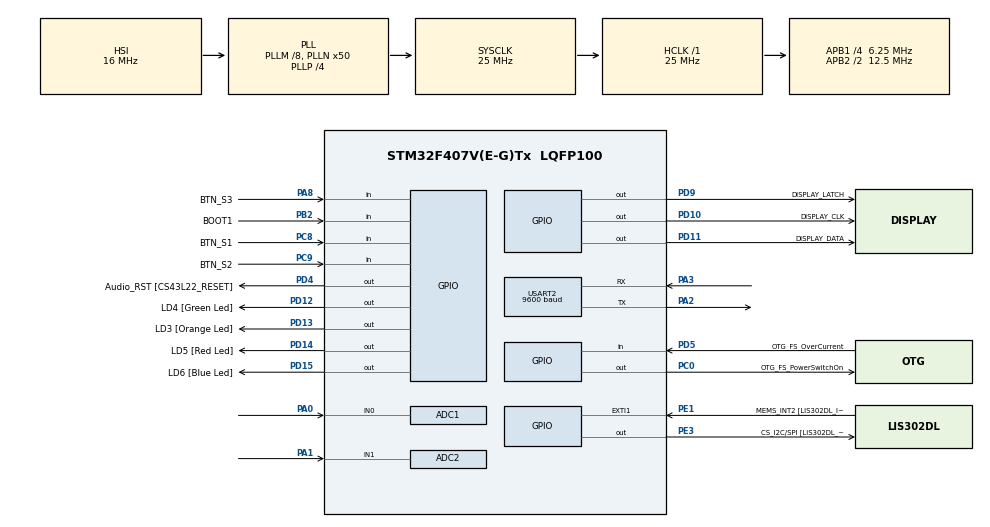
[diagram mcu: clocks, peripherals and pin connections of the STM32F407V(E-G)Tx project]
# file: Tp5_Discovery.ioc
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ADC1.Channel-0\#ChannelRegularConversion=ADC_CHANNEL_0
ADC1.NbrOfConversionFlag=1
ADC1.Rank-0\#ChannelRegularConversion=1
ADC1.SamplingTime-0\#ChannelRegularConversion=ADC_SAMPLETIME_3CYCLES
ADC1.master=1
ADC2.Channel-0\#ChannelRegularConversion=ADC_CHANNEL_1
ADC2.NbrOfConversionFlag=1
ADC2.Rank-0\#ChannelRegularConversion=1
ADC2.SamplingTime-0\#ChannelRegularConversion=ADC_SAMPLETIME_3CYCLES
Mcu.Family=STM32F4
Mcu.Name=STM32F407V(E-G)Tx
Mcu.Package=LQFP100
NVIC.ADC_IRQn=true\:0\:0\:false\:false\:true\:true\:true\:true
NVIC.PriorityGroup=NVIC_PRIORITYGROUP_0
NVIC.TIM2_IRQn=true\:0\:0\:false\:false\:true\:true\:true\:true
NVIC.USART2_IRQn=true\:0\:0\:false\:false\:true\:true\:true\:true
PA0-WKUP.Signal=ADCx_IN0
PA1.Signal=ADCx_IN1
PA10.GPIO_Label=OTG_FS_ID
PA10.GPIO_Mode=GPIO_MODE_AF_PP
PA10.GPIO_PuPd=GPIO_NOPULL
PA10.GPIO_Speed=GPIO_SPEED_FREQ_LOW
PA10.Signal=USB_OTG_FS_ID
PA11.GPIO_Label=OTG_FS_DM
PA11.GPIO_Mode=GPIO_MODE_AF_PP
PA11.GPIO_PuPd=GPIO_NOPULL
PA11.GPIO_Speed=GPIO_SPEED_FREQ_LOW
PA11.Signal=USB_OTG_FS_DM
PA12.GPIO_Label=OTG_FS_DP
PA12.GPIO_Mode=GPIO_MODE_AF_PP
PA12.GPIO_PuPd=GPIO_NOPULL
PA12.GPIO_Speed=GPIO_SPEED_FREQ_LOW
PA12.Signal=USB_OTG_FS_DP
PA13.GPIO_Label=SWDIO
PA13.Mode=Serial_Wire
PA13.Signal=SYS_JTMS-SWDIO
PA14.GPIO_Label=SWCLK
PA14.Mode=Serial_Wire
PA14.Signal=SYS_JTCK-SWCLK
PA2.Mode=Asynchronous
PA2.Signal=USART2_TX
PA3.Mode=Asynchronous
PA3.Signal=USART2_RX
PA4.GPIO_Label=I2S3_WS [CS43L22_LRCK]
PA4.GPIO_Mode=GPIO_MODE_AF_PP
PA4.GPIO_PuPd=GPIO_NOPULL
PA4.GPIO_Speed=GPIO_SPEED_FREQ_LOW
PA4.Signal=I2S3_WS
PA5.GPIO_Label=SPI1_SCK [LIS302DL_SCL/SPC]
PA5.GPIO_Mode=GPIO_MODE_AF_PP
PA5.GPIO_PuPd=GPIO_NOPULL
PA5.GPIO_Speed=GPIO_SPEED_FREQ_LOW
PA5.Signal=SPI1_SCK
PA6.GPIO_Label=SPI1_MISO [LIS302DL_SDO]
PA6.GPIO_Mode=GPIO_MODE_AF_PP
PA6.GPIO_PuPd=GPIO_NOPULL
PA6.GPIO_Speed=GPIO_SPEED_FREQ_LOW
PA6.Signal=SPI1_MISO
PA7.GPIO_Label=SPI1_MOSI [LIS302DL_SDA/SDI/SDO]
PA7.GPIO_Mode=GPIO_MODE_AF_PP
PA7.GPIO_PuPd=GPIO_NOPULL
PA7.GPIO_Speed=GPIO_SPEED_FREQ_LOW
PA7.Signal=SPI1_MOSI
PA8.GPIO_Label=BTN_S3
PA8.GPIO_PuPd=GPIO_PULLUP
PA8.Signal=GPIO_Input
PA9.GPIO_Label=VBUS_FS
PA9.GPIO_Mode=GPIO_MODE_INPUT
PA9.GPIO_PuPd=GPIO_NOPULL
PA9.Signal=USB_OTG_FS_VBUS
PB10.GPIO_Label=CLK_IN [MP45DT02_CLK]
PB10.GPIO_Mode=GPIO_MODE_AF_PP
PB10.GPIO_PuPd=GPIO_NOPULL
PB10.GPIO_Speed=GPIO_SPEED_FREQ_LOW
PB10.Signal=I2S2_CK
PB2.GPIO_Label=BOOT1
PB2.GPIO_Mode=GPIO_MODE_INPUT
PB2.GPIO_PuPd=GPIO_NOPULL
PB2.Signal=GPIO_Input
PB3.GPIO_Label=SWO
PB3.Signal=SYS_JTDO-SWO
PB6.GPIO_Label=Audio_SCL [CS43L22_SCL]
PB6.GPIO_Mode=GPIO_MODE_AF_OD
PB6.GPIO_PuPd=GPIO_NOPULL
PB6.GPIO_Speed=GPIO_SPEED_FREQ_LOW
PB6.Signal=I2C1_SCL
PB9.GPIO_Label=Audio_SDA [CS43L22_SDA]
PB9.GPIO_Mode=GPIO_MODE_AF_OD
PB9.GPIO_PuPd=GPIO_NOPULL
PB9.GPIO_Speed=GPIO_SPEED_FREQ_LOW
PB9.Signal=I2C1_SDA
PC0.GPIO_Label=OTG_FS_PowerSwitchOn
PC0.GPIO_PuPd=GPIO_NOPULL
PC0.GPIO_Speed=GPIO_SPEED_FREQ_LOW
PC0.PinState=GPIO_PIN_SET
PC0.Signal=GPIO_Output
PC10.GPIO_Label=I2S3_SCK [CS43L22_SCLK]
PC10.GPIO_Mode=GPIO_MODE_AF_PP
PC10.GPIO_PuPd=GPIO_NOPULL
PC10.GPIO_Speed=GPIO_SPEED_FREQ_LOW
PC10.Signal=I2S3_CK
PC12.GPIO_Label=I2S3_SD [CS43L22_SDIN]
PC12.GPIO_Mode=GPIO_MODE_AF_PP
PC12.GPIO_PuPd=GPIO_NOPULL
PC12.GPIO_Speed=GPIO_SPEED_FREQ_LOW
PC12.Signal=I2S3_SD
PC14-OSC32_IN.GPIO_Label=PC14-OSC32_IN
PC14-OSC32_IN.Signal=RCC_OSC32_IN
PC15-OSC32_OUT.GPIO_Label=PC15-OSC32_OUT
PC15-OSC32_OUT.Signal=RCC_OSC32_OUT
PC3.GPIO_Label=PDM_OUT [MP45DT02_DOUT]
PC3.GPIO_Mode=GPIO_MODE_AF_PP
PC3.GPIO_PuPd=GPIO_NOPULL
PC3.GPIO_Speed=GPIO_SPEED_FREQ_LOW
PC3.Signal=I2S2_SD
PC7.GPIO_Label=I2S3_MCK [CS43L22_MCLK]
PC7.GPIO_Mode=GPIO_MODE_AF_PP
PC7.GPIO_PuPd=GPIO_NOPULL
PC7.GPIO_Speed=GPIO_SPEED_FREQ_LOW
PC7.Signal=I2S3_MCK
PC8.GPIO_Label=BTN_S1
PC8.GPIO_PuPd=GPIO_PULLUP
PC8.Signal=GPIO_Input
PC9.GPIO_Label=BTN_S2
PC9.GPIO_PuPd=GPIO_PULLUP
PC9.Signal=GPIO_Input
PD10.GPIO_Label=DISPLAY_CLK
PD10.Signal=GPIO_Output
PD11.GPIO_Label=DISPLAY_DATA
PD11.Signal=GPIO_Output
PD12.GPIO_Label=LD4 [Green Led]
PD12.GPIO_PuPd=GPIO_NOPULL
PD12.GPIO_Speed=GPIO_SPEED_FREQ_LOW
PD12.Signal=GPIO_Output
PD13.GPIO_Label=LD3 [Orange Led]
PD13.GPIO_PuPd=GPIO_NOPULL
PD13.GPIO_Speed=GPIO_SPEED_FREQ_LOW
PD13.Signal=GPIO_Output
PD14.GPIO_Label=LD5 [Red Led]
PD14.GPIO_PuPd=GPIO_NOPULL
PD14.GPIO_Speed=GPIO_SPEED_FREQ_LOW
PD14.Signal=GPIO_Output
PD15.GPIO_Label=LD6 [Blue Led]
PD15.GPIO_PuPd=GPIO_NOPULL
PD15.GPIO_Speed=GPIO_SPEED_FREQ_LOW
PD15.Signal=GPIO_Output
PD4.GPIO_Label=Audio_RST [CS43L22_RESET]
PD4.GPIO_PuPd=GPIO_NOPULL
PD4.GPIO_Speed=GPIO_SPEED_FREQ_LOW
PD4.Signal=GPIO_Output
PD5.GPIO_Label=OTG_FS_OverCurrent
PD5.GPIO_Mode=GPIO_MODE_INPUT
PD5.GPIO_PuPd=GPIO_NOPULL
PD5.Signal=GPIO_Input
PD9.GPIO_Label=DISPLAY_LATCH
PD9.Signal=GPIO_Output
PE1.GPIO_Label=MEMS_INT2 [LIS302DL_INT2]
PE1.GPIO_ModeDefaultEXTI=GPIO_MODE_EVT_RISING
PE1.GPIO_PuPd=GPIO_NOPULL
PE1.Signal=GPXTI1
PE3.GPIO_Label=CS_I2C/SPI [LIS302DL_CS_I2C/SPI]
PE3.GPIO_PuPd=GPIO_NOPULL
PE3.GPIO_Speed=GPIO_SPEED_FREQ_LOW
PE3.Signal=GPIO_Output
PH0-OSC_IN.GPIO_Label=PH0-OSC_IN
PH0-OSC_IN.Signal=RCC_OSC_IN
PH1-OSC_OUT.GPIO_Label=PH1-OSC_OUT
PH1-OSC_OUT.Signal=RCC_OSC_OUT
ProjectManager.HeapSize=0x200
ProjectManager.StackSize=0x400
ProjectManager.TargetToolchain=STM32CubeIDE
RCC.48MHZClocksFreq_Value=14285714.285714285
RCC.AHBFreq_Value=25000000
RCC.APB1CLKDivider=RCC_HCLK_DIV4
RCC.APB1Freq_Value=6250000
RCC.APB1TimFreq_Value=12500000
RCC.APB2CLKDivider=RCC_HCLK_DIV2
RCC.APB2Freq_Value=12500000
RCC.APB2TimFreq_Value=25000000
RCC.CortexFreq_Value=25000000
RCC.HCLKFreq_Value=25000000
RCC.HSE_VALUE=8000000
RCC.HSI_VALUE=16000000
RCC.LSE_VALUE=32768
RCC.PLLM=8
RCC.PLLN=50
RCC.PLLP=RCC_PLLP_DIV4
RCC.PLLQ=7
RCC.SYSCLKFreq_VALUE=25000000
RCC.SYSCLKSource=RCC_SYSCLKSOURCE_PLLCLK
RCC.VCOOutputFreq_Value=100000000
SH.ADCx_IN0.0=ADC1_IN0,IN0
SH.ADCx_IN1.0=ADC2_IN1,IN1
TIM2.Period=999
TIM2.Prescaler=1249
USART2.BaudRate=9600
USART2.VirtualMode=VM_ASYNC
VP_TIM2_VS_ClockSourceINT.Mode=Internal
board=STM32F407G-DISC1

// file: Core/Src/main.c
/* USER CODE BEGIN Header */
/**
 ******************************************************************************
 * @file           : main.c
 * @brief          : Main program body
 ******************************************************************************
 * @attention
 *
 * Copyright (c) 2026 STMicroelectronics.
 * All rights reserved.
 *
 * This software is licensed under terms that can be found in the LICENSE file
 * in the root directory of this software component.
 * If no LICENSE file comes with this software, it is provided AS-IS.
 *
 ******************************************************************************
 */
/* USER CODE END Header */
#include "main.h"
#include "adc.h"
#include "tim.h"
#include "usart.h"
#include "gpio.h"

/* USER CODE BEGIN Includes */
#include "boton.h"
#include "display7seg.h"
#include "uart_fsm.h"
#include <string.h>
#include <stdio.h>
/* USER CODE END Includes */

/* USER CODE BEGIN PD */
#define MUESTRAS_FILTRO	16
/* USER CODE END PD */

/* USER CODE BEGIN PV */
volatile ModoLectura_t modo_actual = MODO_POTENCIOMETRO;
volatile uint8_t filtro_activo = 0; // 0 = Medicion directa, 1 = Promedio (16 muestras)

// Variables para ADC1 (Potenciometro)
volatile uint8_t adc1_ready = 0;
uint32_t adc1_value = 0;
uint32_t adc1_acumulador = 0;
uint8_t adc1_muestras = 0;

// Variables para ADC2 (Sensor de temperatura)
volatile uint8_t adc2_ready = 0;
uint32_t adc2_value = 0;
uint32_t adc2_acumulador = 0;
uint8_t adc2_muestras = 0;

// Variables procesadas
float voltage_pot = 0.0f;
float voltage_temp = 0.0f;
float temperature_c = 0.0f;

uint8_t rx_byte = 0;
/* USER CODE END PV */

void SystemClock_Config(void);
/* USER CODE BEGIN PFP */
void Accion_Boton_S1(void);
void Accion_Boton_S2(void);
void Accion_Boton_S3(void);
void Muestra_Periodica(void);
/* USER CODE END PFP */

int main(void) {

	/* MCU Configuration--------------------------------------------------------*/

	/* Reset of all peripherals, Initializes the Flash interface and the Systick. */
	HAL_Init();

	/* Configure the system clock */
	SystemClock_Config();

	/* Initialize all configured peripherals */
	MX_GPIO_Init();
	MX_ADC1_Init();
	MX_ADC2_Init();
	MX_TIM2_Init();
	MX_USART2_UART_Init();
	/* USER CODE BEGIN 2 */
	Button_Init();
	Button_SetAction_S1(Accion_Boton_S1);
	Button_SetAction_S2(Accion_Boton_S2);
	Button_SetAction_S3(Accion_Boton_S3);

	HAL_TIM_Base_Start_IT(&htim2);

	HAL_UART_Receive_IT(&huart2, &rx_byte, 1);
	/* USER CODE END 2 */

	/* Infinite loop */
	/* USER CODE BEGIN WHILE */
	while (1) {
		Read_Button_Task();
		UART_FSM_Process_Task();

		/* USER CODE END WHILE */

		/* USER CODE BEGIN 3 */
		static uint32_t t_telemetria = 0;
		uint32_t now = HAL_GetTick();

		// Potenciometro
		if (adc1_ready) {
			adc1_ready = 0;

			if (filtro_activo) {
				adc1_acumulador += adc1_value;
				adc1_muestras++;

				if (adc1_muestras >= MUESTRAS_FILTRO) {
					uint32_t prom = adc1_acumulador / MUESTRAS_FILTRO;
					adc1_acumulador = 0;
					adc1_muestras = 0;

					voltage_pot = ((float) prom * 3.3f) / 4095.0f;
				}
			} else {
				voltage_pot = ((float) adc1_value * 3.3f) / 4095.0f;
			}
		}

		// Sensor de temperatura
		if (adc2_ready) {
			adc2_ready = 0;

			if (filtro_activo) {
				adc2_acumulador += adc2_value;
				adc2_muestras++;

				if (adc2_muestras >= MUESTRAS_FILTRO) {
					uint32_t prom = adc2_acumulador / MUESTRAS_FILTRO;
					adc2_acumulador = 0;
					adc2_muestras = 0;

					voltage_temp = ((float) prom * 3.3f) / 4095.0f;
					// temperature_c = (voltage_temp) * 100.0f; // Formula LM35
					temperature_c = (voltage_temp - 0.5f) * 100.0f; // Formula MCP9700
				}
			} else {
				voltage_temp = ((float) adc2_value * 3.3f) / 4095.0f;
				// temperature_c = (voltage_temp) * 100.0f; // Formula LM35
				temperature_c = (voltage_temp - 0.5f) * 100.0f; // Formula MCP9700
			}
		}

		static uint32_t t_mostrar_remoto = 0;

		if (modo_actual == MODO_REMOTO_UART) {
			if ((now - t_mostrar_remoto) >= 5000) {
				t_mostrar_remoto = now;
				modo_actual = MODO_POTENCIOMETRO;
			}
		} else if (modo_actual == MODO_POTENCIOMETRO) {
			Display_SetNumberWithDP((uint16_t) (voltage_pot * 1000.0f), 3);
		} else {
			Display_SetNumberWithDP((uint16_t) (temperature_c * 10.0f), 1);
		}

		if ((now - t_telemetria) >= 2000) {
			t_telemetria = now;

			Muestra_Periodica();
		}

		Display_Refresh_Task();
	}
	/* USER CODE END 3 */
}

void SystemClock_Config(void) {
	RCC_OscInitTypeDef RCC_OscInitStruct = { 0 };
	RCC_ClkInitTypeDef RCC_ClkInitStruct = { 0 };

	/** Configure the main internal regulator output voltage
	 */
	__HAL_RCC_PWR_CLK_ENABLE();
	__HAL_PWR_VOLTAGESCALING_CONFIG(PWR_REGULATOR_VOLTAGE_SCALE1);

	/** Initializes the RCC Oscillators according to the specified parameters
	 * in the RCC_OscInitTypeDef structure.
	 */
	RCC_OscInitStruct.OscillatorType = RCC_OSCILLATORTYPE_HSI;
	RCC_OscInitStruct.HSIState = RCC_HSI_ON;
	RCC_OscInitStruct.HSICalibrationValue = RCC_HSICALIBRATION_DEFAULT;
	RCC_OscInitStruct.PLL.PLLState = RCC_PLL_ON;
	RCC_OscInitStruct.PLL.PLLSource = RCC_PLLSOURCE_HSI;
	RCC_OscInitStruct.PLL.PLLM = 8;
	RCC_OscInitStruct.PLL.PLLN = 50;
	RCC_OscInitStruct.PLL.PLLP = RCC_PLLP_DIV4;
	RCC_OscInitStruct.PLL.PLLQ = 7;
	if (HAL_RCC_OscConfig(&RCC_OscInitStruct) != HAL_OK) {
		Error_Handler();
	}

	/** Initializes the CPU, AHB and APB buses clocks
	 */
	RCC_ClkInitStruct.ClockType = RCC_CLOCKTYPE_HCLK | RCC_CLOCKTYPE_SYSCLK
			| RCC_CLOCKTYPE_PCLK1 | RCC_CLOCKTYPE_PCLK2;
	RCC_ClkInitStruct.SYSCLKSource = RCC_SYSCLKSOURCE_PLLCLK;
	RCC_ClkInitStruct.AHBCLKDivider = RCC_SYSCLK_DIV1;
	RCC_ClkInitStruct.APB1CLKDivider = RCC_HCLK_DIV4;
	RCC_ClkInitStruct.APB2CLKDivider = RCC_HCLK_DIV2;

	if (HAL_RCC_ClockConfig(&RCC_ClkInitStruct, FLASH_LATENCY_0) != HAL_OK) {
		Error_Handler();
	}
}

/* USER CODE BEGIN 4 */
// Esta interrupcion ocurre cada 100 ms
void HAL_TIM_PeriodElapsedCallback(TIM_HandleTypeDef *htim) {
	if (htim->Instance == TIM2) {
		HAL_ADC_Start_IT(&hadc1); // Potenciometro (PA0)
		HAL_ADC_Start_IT(&hadc2); // Sensor de Temperatura (PA1)
	}
}

void HAL_ADC_ConvCpltCallback(ADC_HandleTypeDef *hadc) {
	if (hadc->Instance == ADC1) {
		adc1_value = HAL_ADC_GetValue(hadc);
		adc1_ready = 1;
	} else if (hadc->Instance == ADC2) {
		adc2_value = HAL_ADC_GetValue(hadc);
		adc2_ready = 1;
	}
}

void HAL_UART_RxCpltCallback(UART_HandleTypeDef *huart) {
	if (huart->Instance == USART2) {
		UART_FSM_Update((char) rx_byte);

		HAL_UART_Receive_IT(&huart2, &rx_byte, 1);
	}
}

void Accion_Boton_S1(void) {
	modo_actual = MODO_POTENCIOMETRO;
}
void Accion_Boton_S2(void) {
	modo_actual = MODO_TEMPERATURA;
}
void Accion_Boton_S3(void) {
	filtro_activo = !filtro_activo;
}

void Muestra_Periodica(void) {
	static char tx_buffer[50];
	sprintf(tx_buffer, "Temperatura actual: %.1f C\r\n", temperature_c);

	HAL_UART_Transmit_IT(&huart2, (uint8_t*) tx_buffer, strlen(tx_buffer));
}
/* USER CODE END 4 */

void Error_Handler(void) {
	__disable_irq();
	while (1) {
	}
}
